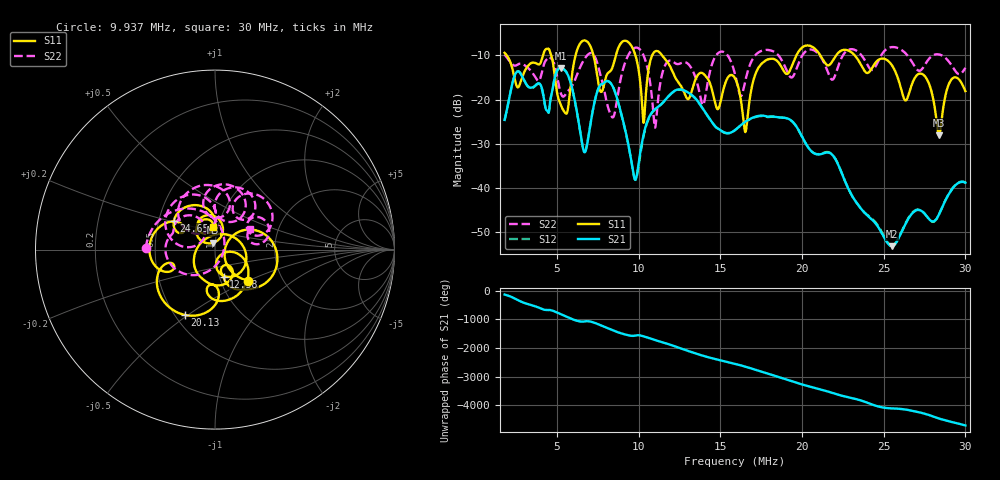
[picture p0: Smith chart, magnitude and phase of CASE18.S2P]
!Agilent Technologies,E5061B,MY49101568,A.02.00
!Date: Wed Mar 01 15:06:03 2023
!Data & Calibration Information:
!Freq	S11:SOLT2(OFF)	S21:SOLT2(OFF)	S12:SOLT2(OFF)	S22:SOLT2(OFF)
# Hz S dB R 50
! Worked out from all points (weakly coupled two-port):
!   1155 points, 1.8 MHz to 30 MHz, reference 50 ohm
!   highest |S21| = -12.87 dB at 5.221 MHz (marker M1); lowest = -53.1 dB at 25.48 MHz (marker M2)
!   lowest |S11| = -28.1 dB at 28.39 MHz (marker M3), VSWR 1.08, Z = 48.8 + j3.7 ohm
!   |S11| at or under -10 dB: 1.931 MHz to 4.146 MHz (2.215 MHz wide, 72.9 % of centre); 11.44 MHz to 19.66 MHz (8.215 MHz wide, 52.8 % of centre); 23.23 MHz to end of sweep (the widest 3 of 7)
!   |S22| runs from -26.3 to -8.1 dB; largest |S21 - S12| = 0.0025
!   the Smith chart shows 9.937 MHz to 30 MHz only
!   S11 on the Smith chart (normalised r, x): 9.937 MHz: 1.35, -0.50; 12.38 MHz: 1.05, -0.33; 20.13 MHz: 0.56, -0.48; 24.65 MHz: 0.60, +0.21; 30 MHz: 0.95, +0.24
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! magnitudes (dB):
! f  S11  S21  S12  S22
! 1.8 MHz  -9.4  -24.6  -24.6  -9.8
! 2.606 MHz  -17.2  -13.6  -13.6  -12.1
! 4.464 MHz  -8.5  -22.8  -22.9  -10.5
! 5.221 MHz  -21.0  -12.9  -12.8  -18.3
! 6.516 MHz  -6.9  -29.4  -29.4  -11.9
! 8.178 MHz  -13.8  -15.9  -15.9  -22.3
! 9.937 MHz  -12.0  -36.1  -36.4  -8.3
! 10.3 MHz  -25.2  -27.9  -28.2  -10.0
! 11.21 MHz  -9.1  -21.6  -21.6  -19.4
! 12.38 MHz  -15.8  -17.7  -17.8  -12.0
! 13.92 MHz  -14.0  -22.0  -22.0  -21.2
! 15.9 MHz  -15.2  -26.9  -26.9  -14.3
! 16.54 MHz  -27.3  -25.0  -25.0  -15.7
! 17.42 MHz  -12.4  -23.6  -23.7  -9.2
! 20.13 MHz  -7.9  -29.2  -29.3  -9.5
! 20.62 MHz  -8.0  -31.8  -31.8  -8.7
! 24.65 MHz  -11.1  -48.7  -48.5  -11.4
! 25.31 MHz  -11.4  -52.8  -52.6  -8.3
! 25.48 MHz  -12.1  -53.1  -53.1  -8.1
! 27.56 MHz  -14.9  -46.0  -46.0  -11.9
! 28.39 MHz  -28.1  -45.9  -45.9  -9.8
! 30 MHz  -18.1  -38.8  -38.7  -12.8
